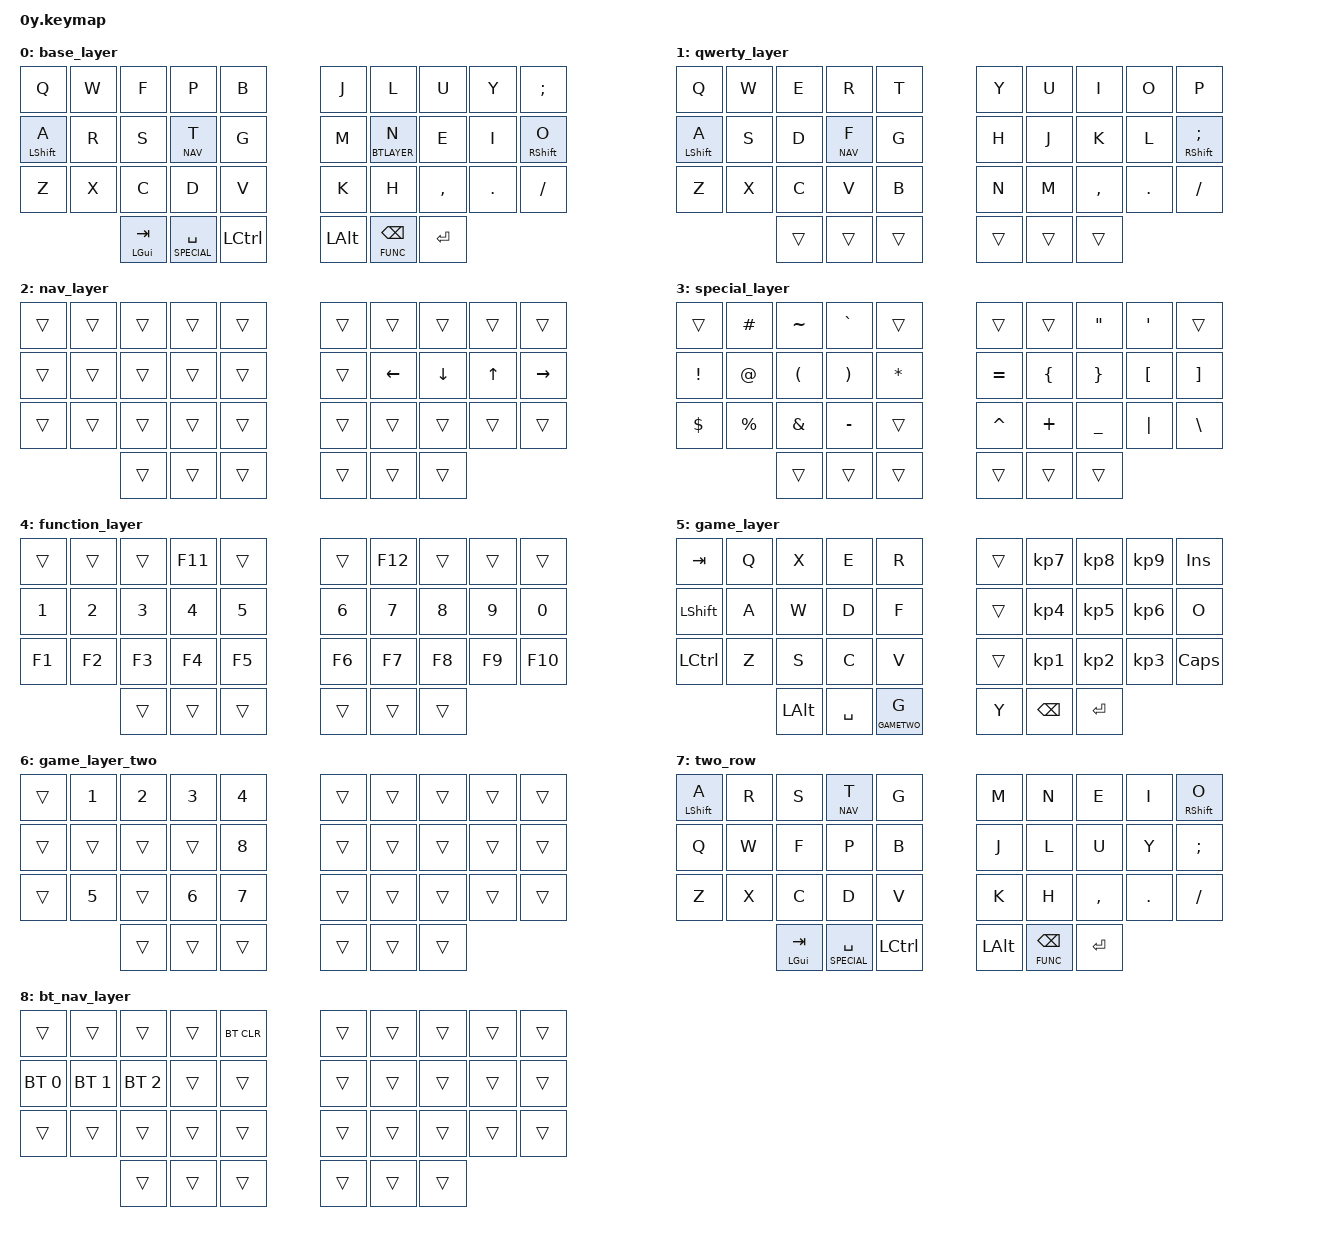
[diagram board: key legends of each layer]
/*
 * Copyright (c) 2021 The ZMK Contributors
 *
 * SPDX-License-Identifier: MIT
 */

#include <behaviors.dtsi>
#include <dt-bindings/zmk/keys.h>
#include <dt-bindings/zmk/bt.h>

#define BASE 0
#define QWERTY 1
#define NAV  2
#define SPECIAL 3
#define FUNC 4
#define GAME 5
#define GAMETWO 6
#define TWOROW 7
#define BTLAYER 8

#define TWOROW_MS 50

/ {
    combos {
        compatible = "zmk,combos";
        combo_panic {
            timeout-ms = <50>;
            key-positions = <31 34>;
            bindings = <&kp ESC>;
        };
        combo_qwerty {
            timeout-ms = <50>;
            key-positions = <32 33>;
            bindings = <&tog QWERTY>;
        };
        combo_game {
            timeout-ms = <50>;
            key-positions = <30 31 34 35>;
            bindings = <&tog GAME>;
        };
        combo_tworow {
            timeout-ms = <50>;
            key-positions = <31 32 33 34>;
            bindings = <&tog TWOROW>;
        };


        combo_a {
            timeout-ms = <TWOROW_MS>;
            key-positions = <10 20>;
            bindings = <&mt LSHIFT A>;
            layers = <TWOROW>;
        };
        combo_r {
            timeout-ms = <TWOROW_MS>;
            key-positions = <11 21>;
            bindings = <&kp R>;
            layers = <TWOROW>;
        };
        combo_s {
            timeout-ms = <TWOROW_MS>;
            key-positions = <12 22>;
            bindings = <&kp S>;
            layers = <TWOROW>;
        };
        combo_t {
            timeout-ms = <TWOROW_MS>;
            key-positions = <13 23>;
            bindings = <&lt NAV T>;
            layers = <TWOROW>;
        };
        combo_g {
            timeout-ms = <TWOROW_MS>;
            key-positions = <14 24>;
            bindings = <&kp G>;
            layers = <TWOROW>;
        };

        combo_m {
            timeout-ms = <TWOROW_MS>;
            key-positions = <15 25>;
            bindings = <&kp M>;
            layers = <TWOROW>;
        };
        combo_n {
            timeout-ms = <TWOROW_MS>;
            key-positions = <16 26>;
            bindings = <&kp N>;
            layers = <TWOROW>;
        };
        combo_e {
            timeout-ms = <TWOROW_MS>;
            key-positions = <17 27>;
            bindings = <&kp E>;
            layers = <TWOROW>;
        };
        combo_i {
            timeout-ms = <TWOROW_MS>;
            key-positions = <18 28>;
            bindings = <&kp I>;
            layers = <TWOROW>;
        };
        combo_o {
            timeout-ms = <TWOROW_MS>;
            key-positions = <19 29>;
            bindings = <&mt RSHIFT O>;
            layers = <TWOROW>;
        };
    };

    // macros {
    //     scr_shot: scr_shot {
    //         label = "scr_shot";
    //         compatible = "zmk,behavior-macro";
    //         #binding-cells = <0>;
    //         bindings
    //             = <&macro_press &kp LSHFT>
    //             , <&macro_press &kp LGUI>
    //             , <&macro_tap &kp S>
    //             , <&macro_release &kp LSHFT>
    //             , <&macro_release &kp LGUI>
    //             ;
    //     };
    // };

	keymap {
		compatible = "zmk,keymap";

		// This is a sample keymap intended to be replaced with your own
		base_layer {
            // |    Q    |    W    |    F    |    P    |    B    |                                          |    J    |    L    |    U    |    Y    |    ;    |
            // |    A    |    R    |    S    |    T    |    G    |                                          |    M    |    N    |    E    |    I    |    O    |
            // |    Z    |    X    |    C    |    D    |    V    |                                          |    K    |    H    |    ,    |    .    |    /    |
            //                                    |   Tab   |  Space  |  Ctrl   |            |   Alt   |  BSPC   |  ENTER  |
			bindings = <
				&kp Q        &kp W     &kp F     &kp P     &kp B                               &kp J     &kp L     &kp U     &kp Y     &kp SEMI
				&mt LSHIFT A &kp R     &kp S     &lt NAV T &kp G                               &kp M     &lt BTLAYER N     &kp E     &kp I     &mt RSHIFT O
				&kp Z        &kp X     &kp C     &kp D     &kp V                               &kp K     &kp H     &kp COMMA &kp DOT   &kp SLASH
				                              &mt LGUI TAB   &lt SPECIAL SPACE &kp LCTRL        &kp LALT &lt FUNC BSPC  &kp ENTER
			>;
		};

        qwerty_layer {
            // |    Q    |    W    |    E    |    R    |    T    |                                          |    Y    |    U    |    I    |    O    |    P    |
            // |    A    |    S    |    D    |    F    |    G    |                                          |    H    |    J    |    K    |    L    |    ;    |
            // |    Z    |    X    |    C    |    V    |    B    |                                          |    N    |    M    |    ,    |    .    |    /    |
            //                                    |         |         |         |            |         |         |         |
			bindings = <
				&kp Q     &kp W     &kp E     &kp R     &kp T                               &kp Y     &kp U     &kp I     &kp O     &kp P
				&mt LSHIFT A &kp S     &kp D     &lt NAV F     &kp G                               &kp H     &kp J     &kp K     &kp L      &mt RSHIFT SEMI
				&kp Z     &kp X     &kp C     &kp V     &kp B                               &kp N     &kp M     &kp COMMA &kp DOT   &kp SLASH
				                              &trans    &trans    &trans          &trans    &trans    &trans
			>;
		};

        nav_layer {
            // |         |         |         |         |         |                                          |         |         |         |         |         |
            // |         |         |         |   "T"   |         |                                          |         |   LEFT  |    UP   |   DOWN  |  RIGHT  |
            // |         |         |         |         |         |                                          |         |         |         |         |         |
            //                                    |         |         |         |            |         |         |         |
			bindings = <
				&trans   &trans     &trans     &trans     &trans                       &trans     &trans    &trans    &trans  &trans
				&trans   &trans     &trans     &trans     &trans                       &trans     &kp LEFT  &kp DOWN  &kp UP  &kp RIGHT
				&trans   &trans     &trans     &trans     &trans                       &trans     &trans    &trans    &trans  &trans
				                              &trans  &trans &trans        &trans &trans &trans
			>;
		};
        
        special_layer {
            // |         |    #    |    ~    |    `    |         |                                          |         |         |    "    |    '    |         |
            // |    !    |    @    |    (    |    )    |    *    |                                          |    =    |    {    |    }    |    [    |    ]    |
            // |    $    |    %    |    &    |    -    |         |                                          |    ^    |    +    |    _    |    |    |    \    |
            //                                    |   Tab   |  Space  |  Ctrl   |            |  Alt   |  BSPC   |  ENTER  |
			bindings = <
				&trans       &kp HASH      &kp TILDE     &kp GRAVE     &trans                       &trans        &trans       &kp DQT      &kp SQT    &trans
				&kp EXCL     &kp AT        &kp LPAR      &kp RPAR      &kp ASTRK                    &kp EQUAL     &kp LBRC     &kp RBRC     &kp LBKT   &kp RBKT
				&kp DLLR     &kp PRCNT     &kp AMPS      &kp MINUS     &trans                       &kp CARET     &kp PLUS     &kp UNDER    &kp PIPE   &kp BSLH
				                                                &trans   &trans &trans        &trans &trans &trans
			>;
		};

        function_layer {
            // |         |         |         |   F11   |         |                                          |         |   F12   |         |         |         |
            // |    1    |    2    |    3    |    4    |    5    |                                          |    6    |    7    |    8    |    9    |    0    |
            // |   F1    |   F2    |   F3    |   F4    |   F5    |                                          |   F6    |   F7    |   F8    |   F9    |   F10   |
            //                                    |   Tab   |  Space  |  Ctrl   |            |  Alt   |  BSPC   |  ENTER  |
			bindings = <
				&trans    &trans    &trans    &kp F11   &trans                            &trans    &kp F12   &trans    &trans    &trans
				&kp N1    &kp N2    &kp N3    &kp N4    &kp N5                            &kp N6    &kp N7    &kp N8    &kp N9    &kp N0
				&kp F1    &kp F2    &kp F3    &kp F4    &kp F5                            &kp F6    &kp F7    &kp F8    &kp F9    &kp F10
				                              &trans    &trans    &trans        &trans    &trans    &trans
			>;
		};

        game_layer {
            // |   Tab   |    Q    |    X    |    E    |    R    |                                          |         |   KP7   |   KP8   |   KP9   |  Insert |
            // |  SHIFT  |    A    |    W    |    D    |    F    |                                          |         |   KP4   |   KP5   |   KP6   |         |
            // |  Ctrl   |    Z    |    S    |    C    |    V    |                                          |         |   KP1   |   KP2   |   KP3   |  CapsL  |
            //                                    |   Alt   |  Space  |    G    |            |    Y    |  BSPC   |  ENTER  |
			bindings = <
				&kp TAB     &kp Q     &kp X     &kp E     &kp R                       &trans     &kp KP_N7  &kp KP_N8  &kp KP_N9  &kp INSERT
				&kp LSHIFT  &kp A     &kp W     &kp D     &kp F                       &trans     &kp KP_N4  &kp KP_N5  &kp KP_N6  &kp O
				&kp LCTRL   &kp Z     &kp S     &kp C     &kp V                       &trans     &kp KP_N1  &kp KP_N2  &kp KP_N3  &kp CAPSLOCK
				                              &kp LALT  &kp SPACE &lt GAMETWO G        &kp Y &kp BSPC &kp ENTER
			>;
		};

        game_layer_two {
            // |   Tab   |    1    |    2    |    3    |    4    |                                          |         |   KP7   |   KP8   |   KP9   |  Insert |
            // |  SHIFT  |    A    |    W    |    D    |    8    |                                          |         |   KP4   |   KP5   |   KP6   |  CapsL  |
            // |  Ctrl   |    5    |    S    |    6    |    7    |                                          |         |   KP1   |   KP2   |   KP3   |         |
            //                                    |   Alt   |  Space  |   "G"   |            |  SW33   |  BSPC   |  ENTER  |
			bindings = <
				&trans  &kp N1     &kp N2     &kp N3     &kp N4                      &trans  &trans  &trans  &trans  &trans
				&trans  &trans     &trans     &trans     &kp N8                         &trans  &trans  &trans  &trans  &trans
				&trans   &kp N5     &trans     &kp N6     &kp N7                        &trans  &trans  &trans  &trans  &trans
				                              &trans  &trans &trans        &trans  &trans  &trans
			>;
		};

        two_row {
            // Middle row here is chorded between the middle row and lower row on the actual keyboard
            // |    Q    |    W    |    F    |    P    |    B    |                                          |    J    |    L    |    U    |    Y    |    ;    |
            // |    A    |    R    |    S    |    T    |    G    |                                          |    M    |    N    |    E    |    I    |    O    |
            // |    Z    |    X    |    C    |    D    |    V    |                                          |    K    |    H    |    ,    |    .    |    /    |
            //                                    |   Tab   |  Space  |  Ctrl   |            |   Alt   |  BSPC   |  ENTER  |
			bindings = <
				&mt LSHIFT A &kp R     &kp S     &lt NAV T &kp G                               &kp M     &kp N     &kp E     &kp I     &mt RSHIFT O
				&kp Q        &kp W     &kp F     &kp P     &kp B                               &kp J     &kp L     &kp U     &kp Y     &kp SEMI
				&kp Z        &kp X     &kp C     &kp D     &kp V                               &kp K     &kp H     &kp COMMA &kp DOT   &kp SLASH
				                              &mt LGUI TAB   &lt SPECIAL SPACE &kp LCTRL        &kp LALT &lt FUNC BSPC  &kp ENTER
			>;
		};

        bt_nav_layer {
            // |         |         |         |         |         |                                          |         |         |         |         |         |
            // |  BTPF0  |  BTFP1  |  BTPF2  |         |         |                                          |         |   "N"   |         |         |         |
            // |         |         |         |         |         |                                          |         |         |         |         |         |
            //                                    |         |         |         |            |         |         |         |
			bindings = <
				&trans          &trans          &trans          &trans     &bt BT_CLR                   &trans     &trans    &trans    &trans  &trans
				&bt BT_SEL 0    &bt BT_SEL 1    &bt BT_SEL 2    &trans     &trans                       &trans     &trans    &trans    &trans  &trans
				&trans          &trans          &trans          &trans     &trans                       &trans     &trans    &trans    &trans  &trans
				                                                    &trans  &trans &trans        &trans &trans &trans
			>;
		};
	};
};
